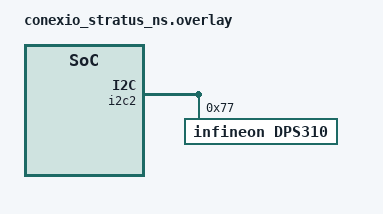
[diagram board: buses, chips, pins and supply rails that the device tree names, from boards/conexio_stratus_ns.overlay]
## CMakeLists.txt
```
# SPDX-License-Identifier: Apache-2.0

cmake_minimum_required(VERSION 3.20.0)
# Override BOARD_ROOT to always point at this SDK's boards/ directory.
# Using CACHE FORCE ensures this wins over any -DBOARD_ROOT passed by the IDE
# or build system, preventing "board defined multiple times" errors when
# multiple SDK versions are present in the environment.
set(BOARD_ROOT "${CMAKE_CURRENT_SOURCE_DIR}/../../.." CACHE PATH "" FORCE)

find_package(Zephyr REQUIRED HINTS $ENV{ZEPHYR_BASE})

project(dps310)
FILE(GLOB app_sources src/*.c)
target_sources(app PRIVATE ${app_sources})
```

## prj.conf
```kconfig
CONFIG_STDOUT_CONSOLE=y
CONFIG_I2C=y
CONFIG_SENSOR=y

# Enable Zephyr application to be booted by MCUboot
CONFIG_BOOTLOADER_MCUBOOT=y

# TF-M minimal profile (required when not using full TF-M PS/ITS/OTP storage)
CONFIG_TFM_PROFILE_TYPE_MINIMAL=y
```

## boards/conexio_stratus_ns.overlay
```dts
/*
 * Copyright (c) 2024 Conexio Technologies, Inc
 *
 * SPDX-License-Identifier: Apache-2.0
 */

/* Board overlay for interfacing DPS310 sensor via the Stratus nRF9160 shield or I2C Pins 
 * SDA: 26, SDL: 27, Sensor I2C Address: 0x77
 */


#include <samples/cellular/nrf91_bootloader_partitions.dtsi>
#include <samples/cellular/nrf91_sram_partitions.dtsi>

&i2c2 {
	DPS310@77 {
		status = "okay";
		compatible = "infineon,dps310";
		reg = <0x77>;
	};
};
```

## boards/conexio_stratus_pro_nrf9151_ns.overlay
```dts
/*
 * Copyright (c) 2024 Conexio Technologies, Inc
 *
 * SPDX-License-Identifier: Apache-2.0
 */

/* Board overlay for interfacing DPS310 sensor via the QWIIC Connector 
 * SDA: P0.08, SDL: P0.07, Sensor I2C Address: 0x77
 */

&i2c2 {
	DPS310@77 {
		status = "okay";
		compatible = "infineon,dps310";
		reg = <0x77>;
	};
};
```

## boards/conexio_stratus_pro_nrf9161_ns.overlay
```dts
/*
 * Copyright (c) 2024 Conexio Technologies, Inc
 *
 * SPDX-License-Identifier: Apache-2.0
 */

/* Board overlay for interfacing DPS310 sensor via the QWIIC Connector 
 * SDA: P0.08, SDL: P0.07, Sensor I2C Address: 0x77
 */


#include <samples/cellular/nrf91_bootloader_partitions.dtsi>
#include <samples/cellular/nrf91_sram_partitions.dtsi>

&i2c2 {
	DPS310@77 {
		status = "okay";
		compatible = "infineon,dps310";
		reg = <0x77>;
	};
};
```

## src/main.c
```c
/*
 * Copyright (c) 2024 Conexio Technologies, Inc
 *
 * SPDX-License-Identifier: Apache-2.0
 */

#include <zephyr/kernel.h>
#include <zephyr/device.h>
#include <zephyr/drivers/sensor.h>
#include <stdlib.h>

int main(void)
{
	printk("Conexio Stratus DPS310 sensor example\n");
	const struct device *const dev = DEVICE_DT_GET_ONE(infineon_dps310);

	if (!device_is_ready(dev)) {
		printk("Device %s is not ready\n", dev->name);
		return 0;
	}

	printk("dev %p name %s\n", dev, dev->name);

	while (1) {
		struct sensor_value temp, press;

		sensor_sample_fetch(dev);
		sensor_channel_get(dev, SENSOR_CHAN_AMBIENT_TEMP, &temp);
		sensor_channel_get(dev, SENSOR_CHAN_PRESS, &press);
		
		printk("Temp: %d.%06d degC; Presssure: %d.%06d kPa\n",
		      temp.val1, abs(temp.val2), press.val1, press.val2);

		/* Fetch sensor samples every 3 seconds */
		k_sleep(K_MSEC(3000));
	}
	return 0;
}
```
